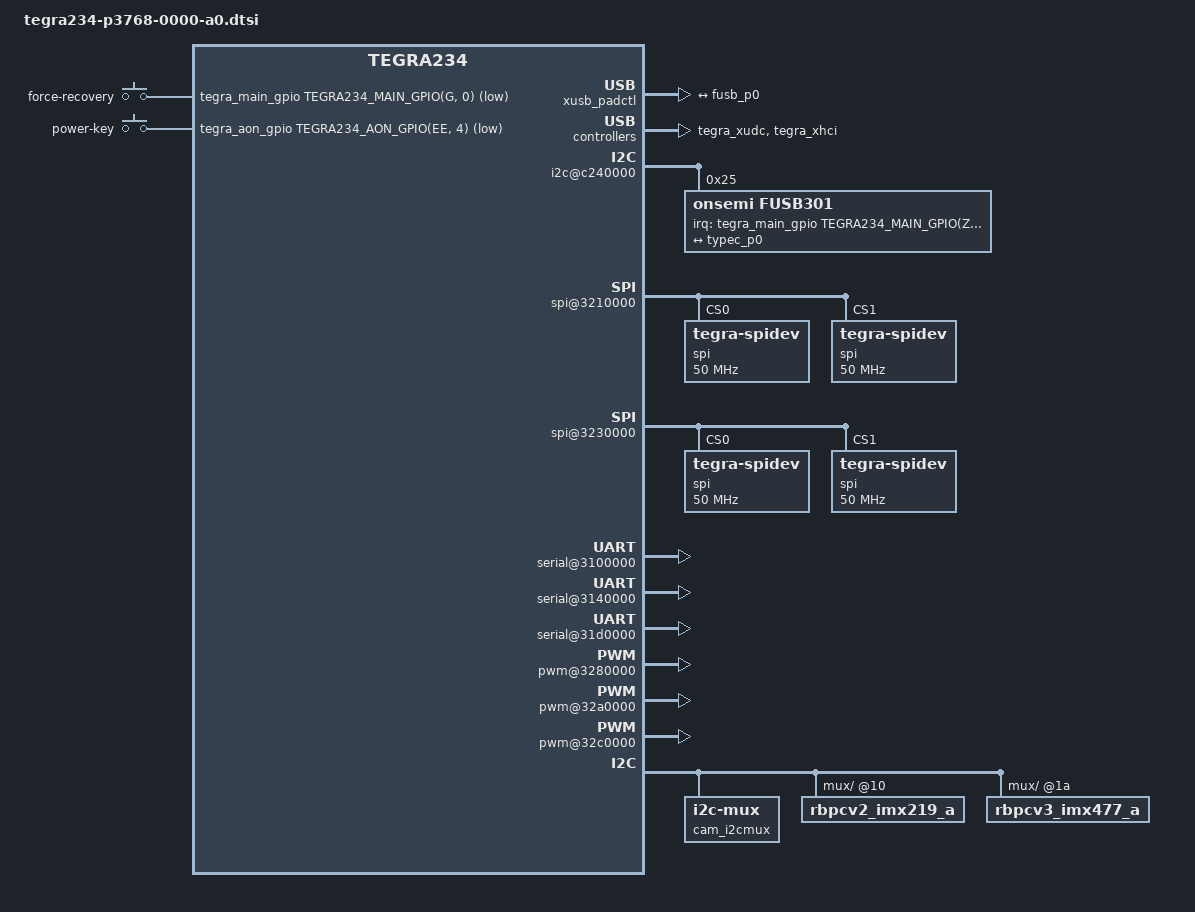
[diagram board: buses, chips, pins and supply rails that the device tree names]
/*
 * Copyright (c) 2022, NVIDIA CORPORATION.  All rights reserved.
 *
 * This program is free software; you can redistribute it and/or modify
 * it under the terms of the GNU General Public License as published by
 * the Free Software Foundation; version 2 of the License.
 *
 * This program is distributed in the hope that it will be useful, but WITHOUT
 * ANY WARRANTY; without even the implied warranty of MERCHANTABILITY or
 * FITNESS FOR A PARTICULAR PURPOSE.  See the GNU General Public License for
 * more details.
 */
#include <dt-bindings/gpio/tegra234-gpio.h>
#include "dt-bindings/input/input.h"
#include "tegra234-p3768-0000-a0-pwm-fan.dtsi"
#include "tegra234-p3768-0000-a0-pcie.dtsi"
#include "tegra234-p3768-0000-a0-fixed-regulator.dtsi"
#include "tegra234-p3768-audio.dtsi"
#include "tegra234-p3768-camera-rbpcv3-imx477.dtsi"
#include "tegra234-p3768-camera-rbpcv2-imx219.dtsi"

/ {
	gpio-keys {
		compatible = "gpio-keys";
		gpio-keys,name = "gpio-keys";
		status = "okay";

		forcerecovery {
			label = "force-recovery";
			gpios = <&tegra_main_gpio TEGRA234_MAIN_GPIO(G, 0) GPIO_ACTIVE_LOW>;
			linux,code = <BTN_1>;
		};

		power_key {
			label = "power-key";
			gpios = <&tegra_aon_gpio TEGRA234_AON_GPIO(EE, 4) GPIO_ACTIVE_LOW>;
			linux,code = <KEY_POWER>;
			gpio-key,wakeup;
		};
	};

	eeprom-manager {
		data-size = <0x100>;
		bus@0 {
			i2c-bus = <&gen1_i2c>;
			eeprom@1 {
				slave-address = <0x57>;
				label = "cvb";
			};
		};

		bus@1 {
			i2c-bus = <&gen2_i2c>;
			eeprom@1 {
				slave-address = <0x50>;
				label = "super-module";
			};
		};
	};

	xusb_padctl: xusb_padctl@3520000 {
		status = "okay";
		pads {
			usb2 {
				lanes {
					usb2-0 {
						nvidia,function = "xusb";
						status = "okay";
					};
					usb2-1 {
						nvidia,function = "xusb";
						status = "okay";
					};
					usb2-2 {
						nvidia,function = "xusb";
						status = "okay";
					};
				};
			};
			usb3 {
				lanes {
					usb3-0 {
						nvidia,function = "xusb";
						status = "okay";
					};
					usb3-1 {
						nvidia,function = "xusb";
						status = "okay";
					};
				};
			};
		};

		ports {
			usb2-0 {/* Goes to recovery port */
				mode = "otg";
				status = "okay";
				vbus-supply = <&p3768_vdd_5v_sys>;
				usb-role-switch;
				port {
					typec_p0: endpoint {
						remote-endpoint = <&fusb_p0>;
					};
				};
			};
			usb2-1 {/* Goes to hub */
				mode = "host";
				vbus-supply = <&p3768_vdd_av10_hub>;
				status = "okay";
			};
			usb2-2 {/* Goes to M2.E */
				mode = "host";
				vbus-supply = <&p3768_vdd_5v_sys>;
				status = "okay";
			};
			usb3-0 {/* Goes to hub */
				nvidia,usb2-companion = <1>;
				status = "okay";
			};
			usb3-1 {/* Goes to J5 */
				nvidia,usb2-companion = <0>;
				status = "okay";
			};
		};
	};

	tegra_xudc: xudc@3550000 {
		status = "okay";
		phys = <&{/xusb_padctl@3520000/pads/usb2/lanes/usb2-0}>,
			<&{/xusb_padctl@3520000/pads/usb3/lanes/usb3-1}>;
		phy-names = "usb2-0", "usb3-1";
		nvidia,xusb-padctl = <&xusb_padctl>;
	};

	tegra_xhci: xhci@3610000 {
		status = "okay";
		phys = <&{/xusb_padctl@3520000/pads/usb2/lanes/usb2-0}>,
			<&{/xusb_padctl@3520000/pads/usb2/lanes/usb2-1}>,
			<&{/xusb_padctl@3520000/pads/usb2/lanes/usb2-2}>,
			<&{/xusb_padctl@3520000/pads/usb3/lanes/usb3-0}>,
			<&{/xusb_padctl@3520000/pads/usb3/lanes/usb3-1}>;
		phy-names = "usb2-0", "usb2-1", "usb2-2", "usb3-0", "usb3-1";
		nvidia,xusb-padctl = <&xusb_padctl>;
	};

	i2c@c240000{
		status = "okay";
		fusb301@25 {
			compatible = "onsemi,fusb301";
			reg = <0x25>;
			status = "okay";
			#address-cells = <1>;
			#size-cells = <0>;
			interrupt-parent = <&tegra_main_gpio>;
			interrupts = <TEGRA234_MAIN_GPIO(Z, 1) IRQ_TYPE_LEVEL_LOW>;
			connector@0 {
				port@0 {
					fusb_p0: endpoint {
						remote-endpoint = <&typec_p0>;
					};
				};
			};
		};
	};
	spi@3210000{ /* SPI1 in 40 pin conn */
		status = "okay";
		spi@0 { /* chip select 0 */
			compatible = "tegra-spidev";
			reg = <0x0>;
			spi-max-frequency = <50000000>;
			controller-data {
				nvidia,enable-hw-based-cs;
				nvidia,rx-clk-tap-delay = <0x10>;
				nvidia,tx-clk-tap-delay = <0x0>;
			};
		};
		spi@1 { /* chip select 1 */
			compatible = "tegra-spidev";
			reg = <0x1>;
			spi-max-frequency = <50000000>;
			controller-data {
				nvidia,enable-hw-based-cs;
				nvidia,rx-clk-tap-delay = <0x10>;
				nvidia,tx-clk-tap-delay = <0x0>;
			};
		};
	};

	spi@3230000{ /* SPI3 in 40 pin conn */
		status = "okay";
		spi@0 { /* chip select 0 */
			compatible = "tegra-spidev";
			reg = <0x0>;
			spi-max-frequency = <50000000>;
			controller-data {
				nvidia,enable-hw-based-cs;
				nvidia,rx-clk-tap-delay = <0x10>;
				nvidia,tx-clk-tap-delay = <0x0>;
			};
		};
		spi@1 { /* chips select 1 */
			compatible = "tegra-spidev";
			reg = <0x1>;
			spi-max-frequency = <50000000>;
			controller-data {
				nvidia,enable-hw-based-cs;
				nvidia,rx-clk-tap-delay = <0x10>;
				nvidia,tx-clk-tap-delay = <0x0>;
			};
		};
	};

	serial@3100000 {/* UARTA, for 40 pin header */
		status = "okay";
	};

	mttcan@c310000 {
		status = "okay";
	};

	serial@3140000 {
		/* UARTE, Goes to M2.E and also some of the pins to bootstrap */
		status = "okay";
	};

	serial@31d0000 {/* UARTI - SBSA */
		status = "okay";
	};

	tachometer@39c0000 {
		status = "okay";
		upper-threshold = <0xfffff>;
		lower-threshold = <0x0>;
	};

	pwm@3280000 {/* PWM1 40pin header, pin 15 */
		status = "okay";
	};

	pwm@32a0000 {/* PWM3 - FAN */
		status = "okay";
	};

	pwm@c340000 { /* PWM4 - OVR */
		status = "disabled";
	};

	pwm@32c0000 {/* PWM5 40 pin header, pin 33 */
		status = "okay";
	};

	pwm@32d0000 {/* PWM6 OVR */
		status = "disabled";
	};

	bluedroid_pm {
		status = "disabled";
	};

	display@13800000 {
		status = "okay";
	};

	tegra-capture-vi  {
		ports {
			port@0 {
				endpoint {
					port-index = <1>;
				};
			};
		};
	};

	host1x@13e00000 {
		nvcsi@15a00000 {
			csi_chan0 {
				ports {
					port@0 {
						endpoint@0 {
							port-index = <1>;
						};
					};
				};
			};
		};
	};

	cam_i2cmux{
		i2c@0 {
			rbpcv2_imx219_a@10 {
				mode0 {
					tegra_sinterface = "serial_b";
					lane_polarity = "6";
				};
				mode1 {
					tegra_sinterface = "serial_b";
					lane_polarity = "6";
				};
				mode2 {
					tegra_sinterface = "serial_b";
					lane_polarity = "6";
				};
				mode3 {
					tegra_sinterface = "serial_b";
					lane_polarity = "6";
				};
				mode4 {
					tegra_sinterface = "serial_b";
					lane_polarity = "6";
				};
				ports {
					port@0 {
						endpoint {
							port-index = <1>;
						};
					};
				};
			};

			rbpcv3_imx477_a@1a {
				mode0 {
					tegra_sinterface = "serial_b";
					lane_polarity = "6";
				};
				mode1 {
					tegra_sinterface = "serial_b";
					lane_polarity = "6";
				};
				ports {
					port@0 {
						endpoint {
							port-index = <1>;
						};
					};
				};
			};
		};
	};
};
